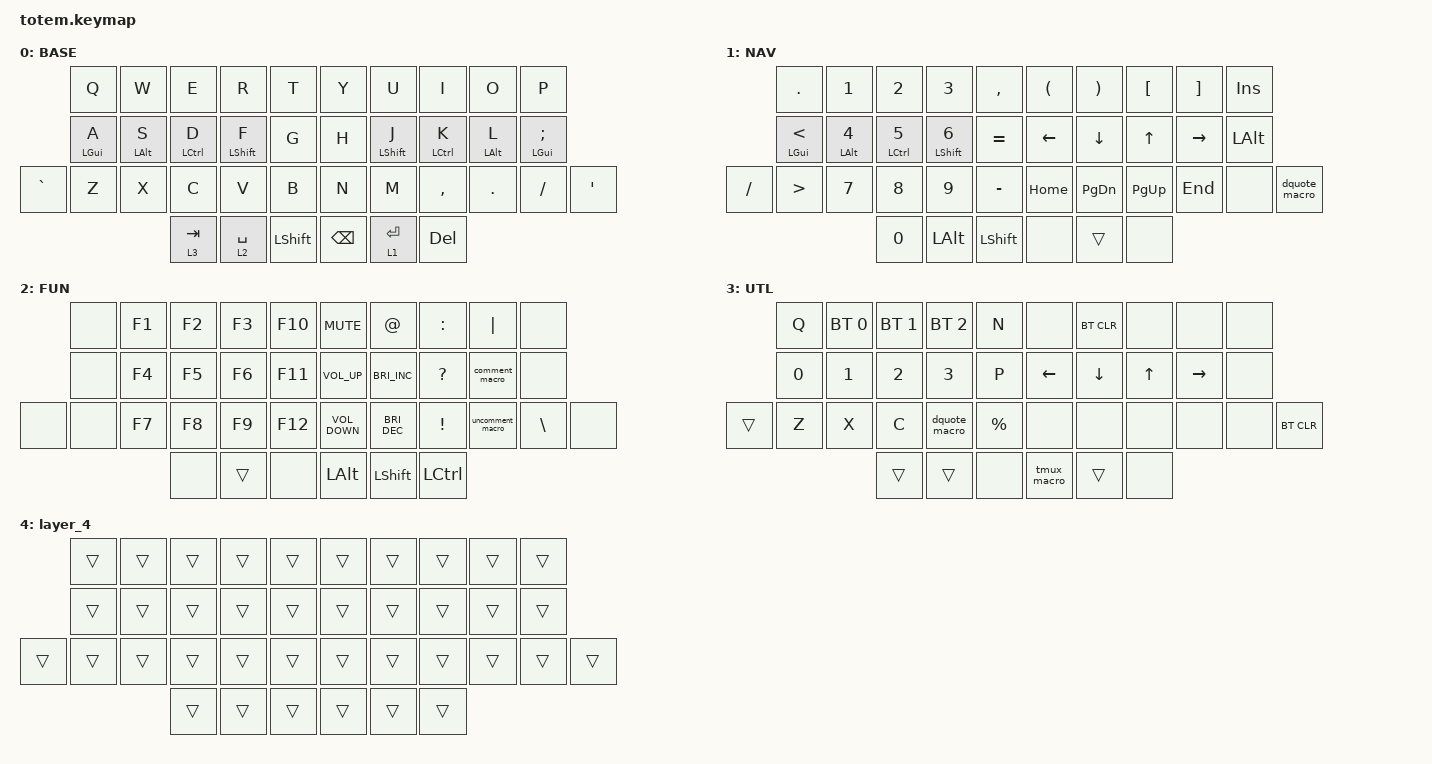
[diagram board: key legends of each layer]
//
//                                                        ▀▀▀▀▀     ▀▀▀▀▀          ▀▀█▀▀
//                                                        ▄▀▀▀▄  ▄  ▄▀▀▀▄  ▄  ▄▀▀▀▄  █  ▄▀▀▀▄
//                                                        █   █  █  █   █  █  █   █  █  █   █
//                                                         ▀▀▀   █   ▀▀▀   █   ▀▀▀   ▀   ▀▀▀
//                                                               █      ▄▄▄█▄▄▄    █   █  
//                                                               ▀      █  █  █     █▄█
//                                                             ▀▀▀▀▀    █  █  █      ▀
//                                                                      ▀  ▀  ▀
//
//                                         ███▄▄▄▄    ▄█    ▄▄▄▄███▄▄▄▄   ▀█████████▄  ███    █▄     ▄████████
//                                         ███▀▀▀██▄ ███  ▄██▀▀▀███▀▀▀██▄   ███    ███ ███    ███   ███    ███
//                                         ███   ███ ███▌ ███   ███   ███   ███    ███ ███    ███   ███    █▀ 
//                                         ███   ███ ███▌ ███   ███   ███  ▄███▄▄▄██▀  ███    ███   ███       
//                                         ███   ███ ███▌ ███   ███   ███ ▀▀███▀▀▀██▄  ███    ███ ▀███████████
//                                         ███   ███ ███  ███   ███   ███   ███    ██▄ ███    ███          ███
//                                         ███   ███ ███  ███   ███   ███   ███    ███ ███    ███    ▄█    ███
//                                          ▀█   █▀  █▀    ▀█   ███   █▀  ▄█████████▀  ████████▀   ▄████████▀ 
// ▄▄▄▄▄▄▄▄▄▄▄▄▄▄▄▄▄▄▄▄▄▄▄▄▄▄▄▄▄▄▄▄▄▄▄▄▄▄▄▄▄▄▄▄▄▄▄▄▄▄▄▄▄▄▄▄▄▄▄▄▄▄▄▄▄▄▄▄▄▄▄▄▄▄▄▄▄▄▄▄▄▄▄▄▄▄▄▄▄▄▄▄▄▄▄▄▄▄▄▄▄▄▄▄▄▄▄▄▄▄▄▄▄▄▄▄▄▄▄▄▄▄▄▄▄▄▄▄▄▄▄▄▄▄▄▄▄▄▄▄▄▄▄▄▄▄▄▄▄

#include <behaviors.dtsi>
#include <dt-bindings/zmk/bt.h>
#include <dt-bindings/zmk/keys.h>

#define BASE 0
#define NAV  1
#define SYM  2
#define ADJ  3

&mt {
    quick-tap-ms = <100>;
    global-quick-tap;
    flavor = "tap-preferred";
    tapping-term-ms = <170>;
};

/ {
    combos {
        compatible = "zmk,combos";

        combo_esc {
            timeout-ms = <50>;
            key-positions = <0 1>;
            bindings = <&kp ESC>;
        };

        home_combo {
            bindings = <&kp HOME>;
            key-positions = <22 23 24>;
        };

        end_combo {
            bindings = <&kp END>;
            key-positions = <29 28 27>;
        };

        combo_printscreen {
            bindings = <&kp PRINTSCREEN>;
            key-positions = <13 12 11>;
        };

        capslock_combo {
            bindings = <&kp CAPSLOCK>;
            key-positions = <13 16>;
        };

        hyphen_combo {
            bindings = <&kp MINUS>;
            key-positions = <15 16>;
        };

        underline_combo {
            bindings = <&kp UNDER>;
            key-positions = <26 27>;
        };

        end_macbook_combo {
            bindings = <&end_macbook_macro>;
            key-positions = <29 28 27 30>;
        };

        home_macbook_combo {
            bindings = <&home_macbook_macro>;
            key-positions = <22 23 24 21>;
        };

        printscreen_macboo_combo {
            bindings = <&printscreen_macbook_macro>;
            key-positions = <13 12 11 10>;
        };

        omarchy_cedilla {
            bindings = <&omarchy_cedilla_macro>;
            key-positions = <24 23>;
        };
    };

    macros {
        comment_macro: comment_macro {
            compatible = "zmk,behavior-macro";
            #binding-cells = <0>;
            bindings = <&kt LEFT_CONTROL &kp K &kp C &kt LEFT_CONTROL>;
            label = "COMMENT_MACRO";
        };

        uncomment_macro: uncomment_macro {
            compatible = "zmk,behavior-macro";
            #binding-cells = <0>;
            bindings = <&kt LEFT_CONTROL &kp K &kp U &kt LEFT_CONTROL>;
            label = "UNCOMMENT_MACRO";
        };

        tmux_macro: tmux_macro {
            compatible = "zmk,behavior-macro";
            #binding-cells = <0>;
            bindings = <&sk LEFT_CONTROL &kp B>;
            label = "TMUX_MACRO";
        };

        dquote_macro: dquote_macro {
            compatible = "zmk,behavior-macro";
            #binding-cells = <0>;
            bindings = <&kp DOUBLE_QUOTES &kp SPACE>;
            label = "DQUOTE_MACRO";
        };

        home_macbook_macro: home_macbook_macro {
            compatible = "zmk,behavior-macro";
            #binding-cells = <0>;
            bindings = <&sk LEFT_GUI &kp LEFT>;
            label = "HOME_MACBOOK_MACRO";
        };

        end_macbook_macro: end_macbook_macro {
            compatible = "zmk,behavior-macro";
            #binding-cells = <0>;
            bindings = <&sk LEFT_GUI &kp RIGHT>;
            label = "END_MACBOOK_MACRO";
        };

        printscreen_macbook_macro: printscreen_macbook_macro {
            compatible = "zmk,behavior-macro";
            #binding-cells = <0>;
            bindings = <&kt LEFT_SHIFT &kt LEFT_COMMAND &kp NUMBER_4 &kt LEFT_SHIFT &kt LEFT_COMMAND>;
            label = "PRINTSCREEN_MACBOOK_MACRO";
        };

        omarchy_cedilla_macro: omarchy_cedilla_macro {
            compatible = "zmk,behavior-macro";
            #binding-cells = <0>;
            bindings = <&sk RIGHT_ALT &kp COMMA>;
            label = "OMARCHY_CEDILLA_MACRO";
        };
    };

    keymap {
        compatible = "zmk,keymap";

        // ▄▄▄▄▄▄▄▄▄▄▄▄▄▄▄▄▄▄▄▄▄▄▄▄▄▄▄▄▄▄▄▄▄▄▄▄▄▄▄▄▄▄▄▄▄▄▄▄▄▄▄▄▄▄▄▄▄▄▄▄▄▄▄▄▄▄▄▄▄▄▄▄▄▄▄▄▄▄▄▄▄▄▄▄▄▄▄▄▄▄▄▄▄▄▄▄▄▄▄▄▄▄▄▄▄▄▄▄▄▄▄▄▄▄▄▄▄▄▄▄▄▄▄▄▄▄▄▄▄▄▄▄▄▄▄▄▄▄▄▄▄▄▄▄▄▄▄▄▄

        base_layer {
            // ┏━━━━━━━━━━━━━━━━━━━━━━━━━━━━━━━━━━━━━━━┓

            label = "BASE";

            // ┗━━━━━━━━━━━━━━━━━━━━━━━━━━━━━━━━━━━━━━━┛
            //             ┏━━━━━━━━━━━┳━━━━━━━━━━━┳━━━━━━━━━━━┳━━━━━━━━━━━┳━━━━━━━━━━━┓   ┏━━━━━━━━━━━┳━━━━━━━━━━━┳━━━━━━━━━━━┳━━━━━━━━━━━┳━━━━━━━━━━━┓
            //             ┃     Q     ┃     W     ┃     F     ┃     P     ┃     G     ┃   ┃     J     ┃     L     ┃     U     ┃     Y     ┃     ;     ┃
            //             ┣━━━━━━━━━━━╋━━━━━━━━━━━╋━━━━━━━━━━━╋━━━━━━━━━━━╋━━━━━━━━━━━┫   ┣━━━━━━━━━━━╋━━━━━━━━━━━╋━━━━━━━━━━━╋━━━━━━━━━━━╋━━━━━━━━━━━┫
            //             ┃     A     ┃     R     ┃     S     ┃     T     ┃     D     ┃   ┃     H     ┃     N     ┃     E     ┃     I     ┃     O     ┃
            // ┏━━━━━━━━━━━╋━━━━━━━━━━━╋━━━━━━━━━━━╋━━━━━━━━━━━╋━━━━━━━━━━━╋━━━━━━━━━━━┫   ┣━━━━━━━━━━━╋━━━━━━━━━━━╋━━━━━━━━━━━╋━━━━━━━━━━━╋━━━━━━━━━━━╋━━━━━━━━━━━┓
            // ┃           ┃     Z     ┃     X     ┃     C     ┃     V     ┃     B     ┃   ┃     K     ┃     M     ┃     ,     ┃     .     ┃     /     ┃           ┃
            // ┗━━━━━━━━━━━┻━━━━━━━━━━━┻━━━━━━━━━━━╋━━━━━━━━━━━╋━━━━━━━━━━━╋━━━━━━━━━━━┫   ┣━━━━━━━━━━━╋━━━━━━━━━━━╋━━━━━━━━━━━╋━━━━━━━━━━━┻━━━━━━━━━━━┻━━━━━━━━━━━┛
            //                                     ┃           ┃    TAB    ┃    SPC    ┃   ┃   ENTER   ┃   BSPC    ┃           ┃
            //                                     ┗━━━━━━━━━━━┻━━━━━━━━━━━┻━━━━━━━━━━━┛   ┗━━━━━━━━━━━┻━━━━━━━━━━━┻━━━━━━━━━━━┛

            bindings = <
           &kp Q           &kp W           &kp E        &kp R        &kp T             &kp Y          &kp U         &kp I               &kp O           &kp P
           &mt LEFT_GUI A  &mt LEFT_ALT S  &mt LCTRL D  &mt LSHFT F  &kp G             &kp H          &mt LSHIFT J  &mt LEFT_CONTROL K  &mt LEFT_ALT L  &mt LGUI SEMICOLON
&kp GRAVE  &kp Z           &kp X           &kp C        &kp V        &kp B             &kp N          &kp M         &kp COMMA           &kp PERIOD      &kp FSLH            &kp APOSTROPHE
                                           &lt 3 TAB    &lt 2 SPACE  &kp LEFT_SHIFT    &kp BACKSPACE  &lt 1 ENTER   &kp DEL
            >;
        };

        navigation_layer {
            bindings = <
           &kp PERIOD              &kp N1             &kp N2               &kp N3                   &kp COMMA         &kp LEFT_PARENTHESIS  &kp RIGHT_PARENTHESIS  &kp LEFT_BRACKET  &kp RIGHT_BRACKET  &kp INSERT
           &mt LEFT_GUI LESS_THAN  &mt LALT NUMBER_4  &mt LEFT_CONTROL N5  &mt LEFT_SHIFT NUMBER_6  &kp EQUAL         &kp LEFT              &kp DOWN               &kp UP            &kp RIGHT          &kp LEFT_ALT
&kp SLASH  &kp GREATER_THAN        &kp N7             &kp N8               &kp N9                   &kp MINUS         &kp HOME              &kp PAGE_DOWN          &kp PAGE_UP       &kp END            &none         &dquote_macro
                                                      &kp N0               &kp LEFT_ALT             &kp LEFT_SHIFT    &none                 &trans                 &none
            >;

            label = "NAV";
        };

        function_layer {
            // ┏━━━━━━━━━━━━━━━━━━━━━━━━━━━━━━━━━━━━━━━┓

            label = "FUN";

            // ┗━━━━━━━━━━━━━━━━━━━━━━━━━━━━━━━━━━━━━━━┛
            //             ┏━━━━━━━━━━━┳━━━━━━━━━━━┳━━━━━━━━━━━┳━━━━━━━━━━━┳━━━━━━━━━━━┓   ┏━━━━━━━━━━━┳━━━━━━━━━━━┳━━━━━━━━━━━┳━━━━━━━━━━━┳━━━━━━━━━━━┓
            //             ┃     !     ┃     @     ┃     #     ┃     $     ┃     %     ┃   ┃     ˆ     ┃     &     ┃     Ü     ┃     '     ┃     "     ┃
            //             ┣━━━━━━━━━━━╋━━━━━━━━━━━╋━━━━━━━━━━━╋━━━━━━━━━━━╋━━━━━━━━━━━┫   ┣━━━━━━━━━━━╋━━━━━━━━━━━╋━━━━━━━━━━━╋━━━━━━━━━━━╋━━━━━━━━━━━┫
            //             ┃     Ä     ┃           ┃    SZ     ┃           ┃           ┃   ┃   MUTE    ┃   YEN     ┃   EURO    ┃  POUND    ┃     Ö     ┃
            // ┏━━━━━━━━━━━╋━━━━━━━━━━━╋━━━━━━━━━━━╋━━━━━━━━━━━╋━━━━━━━━━━━╋━━━━━━━━━━━┫   ┣━━━━━━━━━━━╋━━━━━━━━━━━╋━━━━━━━━━━━╋━━━━━━━━━━━╋━━━━━━━━━━━╋━━━━━━━━━━━┓
            // ┃           ┃  EMAIL1   ┃  EMAIL2   ┃           ┃           ┃           ┃   ┃   VOL-    ┃   VOL+    ┃   LAST    ┃   NEXT    ┃     \     ┃           ┃
            // ┗━━━━━━━━━━━┻━━━━━━━━━━━┻━━━━━━━━━━━╋━━━━━━━━━━━╋━━━━━━━━━━━╋━━━━━━━━━━━┫   ┣━━━━━━━━━━━╋━━━━━━━━━━━╋━━━━━━━━━━━╋━━━━━━━━━━━┻━━━━━━━━━━━┻━━━━━━━━━━━┛
            //                                     ┃           ┃    GIF    ┃    ADJ    ┃   ┃           ┃           ┃           ┃
            //                                     ┗━━━━━━━━━━━┻━━━━━━━━━━━┻━━━━━━━━━━━┛   ┗━━━━━━━━━━━┻━━━━━━━━━━━┻━━━━━━━━━━━┛

            bindings = <
       &none  &kp F1  &kp F2  &kp F3  &kp F10    &kp K_MUTE         &kp AT_SIGN           &kp COLON         &kp PIPE          &none
       &none  &kp F4  &kp F5  &kp F6  &kp F11    &kp C_VOLUME_UP    &kp C_BRIGHTNESS_INC  &kp QUESTION      &comment_macro    &none
&none  &none  &kp F7  &kp F8  &kp F9  &kp F12    &kp C_VOLUME_DOWN  &kp C_BRI_DEC         &kp EXCLAMATION   &uncomment_macro  &kp BACKSLASH  &none
                      &none   &trans  &none      &kp LEFT_ALT       &kp LEFT_SHIFT        &kp LEFT_CONTROL
            >;
        };

        tmux_layer {
            // ┏━━━━━━━━━━━━━━━━━━━━━━━━━━━━━━━━━━━━━━━┓

            label = "UTL";

            // ┗━━━━━━━━━━━━━━━━━━━━━━━━━━━━━━━━━━━━━━━┛
            //             ┏━━━━━━━━━━━┳━━━━━━━━━━━┳━━━━━━━━━━━┳━━━━━━━━━━━┳━━━━━━━━━━━┓   ┏━━━━━━━━━━━┳━━━━━━━━━━━┳━━━━━━━━━━━┳━━━━━━━━━━━┳━━━━━━━━━━━┓
            //             ┃   RESET   ┃ BT CLEAR  ┃  OUT TOG  ┃           ┃           ┃   ┃           ┃    F7     ┃    F8     ┃    F9     ┃    F12    ┃
            //             ┣━━━━━━━━━━━╋━━━━━━━━━━━╋━━━━━━━━━━━╋━━━━━━━━━━━╋━━━━━━━━━━━┫   ┣━━━━━━━━━━━╋━━━━━━━━━━━╋━━━━━━━━━━━╋━━━━━━━━━━━╋━━━━━━━━━━━┫
            //             ┃ BOOTLOAD  ┃ BT NEXT   ┃           ┃           ┃           ┃   ┃           ┃    F4     ┃    F5     ┃    F6     ┃    F11    ┃
            // ┏━━━━━━━━━━━╋━━━━━━━━━━━╋━━━━━━━━━━━╋━━━━━━━━━━━╋━━━━━━━━━━━╋━━━━━━━━━━━┫   ┣━━━━━━━━━━━╋━━━━━━━━━━━╋━━━━━━━━━━━╋━━━━━━━━━━━╋━━━━━━━━━━━╋━━━━━━━━━━━┓
            // ┃           ┃           ┃ BT PREV   ┃           ┃           ┃           ┃   ┃           ┃    F1     ┃    F2     ┃    F3     ┃    F10    ┃           ┃
            // ┗━━━━━━━━━━━┻━━━━━━━━━━━┻━━━━━━━━━━━╋━━━━━━━━━━━╋━━━━━━━━━━━╋━━━━━━━━━━━┫   ┣━━━━━━━━━━━╋━━━━━━━━━━━╋━━━━━━━━━━━╋━━━━━━━━━━━┻━━━━━━━━━━━┻━━━━━━━━━━━┛
            //                                     ┃           ┃           ┃           ┃   ┃           ┃           ┃           ┃
            //                                     ┗━━━━━━━━━━━┻━━━━━━━━━━━┻━━━━━━━━━━━┛   ┗━━━━━━━━━━━┻━━━━━━━━━━━┻━━━━━━━━━━━┛

            bindings = <
        &kp Q   &bt BT_SEL 0  &bt BT_SEL 1  &bt BT_SEL 2   &kp N          &none           &bt BT_CLR      &none         &none            &none
        &kp N0  &kp NUMBER_1  &kp NUMBER_2  &kp NUMBER_3   &kp P          &kp LEFT_ARROW  &kp DOWN_ARROW  &kp UP_ARROW  &kp RIGHT_ARROW  &none
&trans  &kp Z   &kp X         &kp C         &dquote_macro  &kp PERCENT    &none           &none           &none         &none            &none  &bt BT_CLR
                              &trans        &trans         &none          &tmux_macro     &trans          &none
            >;
        };

        layer_4 {
            bindings = <
        &trans  &trans  &trans  &trans  &trans    &trans  &trans  &trans  &trans  &trans
        &trans  &trans  &trans  &trans  &trans    &trans  &trans  &trans  &trans  &trans
&trans  &trans  &trans  &trans  &trans  &trans    &trans  &trans  &trans  &trans  &trans  &trans
                        &trans  &trans  &trans    &trans  &trans  &trans
            >;
        };
    };
};
